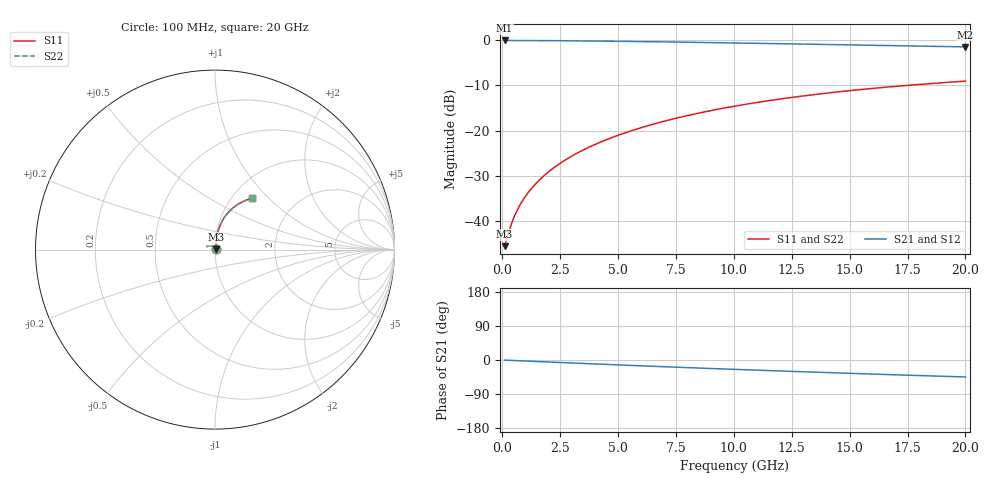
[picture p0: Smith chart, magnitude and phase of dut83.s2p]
! Touchstone file exported from HFSS 2024.1.0
!  File:  C:/UserFiles/LocalFiles/RDL_TSV_Batchsim/temp_RDL_top_83_1778682568.aedt
!  Generated:  10:32:00 PM May 13, 2026
!  Design:  RDL_top
!  Project:  temp_RDL_top_83_1778682568
!  Setup:  Setup1
!  Solution:  Sweep
! Variables:
!  dtsv = 10.80580581um
!  hbump = 3um
!  htsv = 86.4um
!  ldown = 100um
!  lrdl = 678.93um
!  p = 40
!  p1 = 41.13um
!  rhole = 1um
!  t = 450um
!  tdown = 3.915915916um
!  trdl = 2.38um
!  wdown = 15.38538539um
!  wrdl = 21.87um
# GHz S MA R 50.000000
! Terminal data exported
! Port[1] = Box2_T1
! Port[2] = Box2_T2
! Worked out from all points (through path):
!   200 points, 100 MHz to 20 GHz, reference 50 ohm
!   highest |S21| = -0.04 dB at 100 MHz (marker M1); lowest = -1.5 dB at 20 GHz (marker M2)
!   group delay of S21, straight-line fit = 6.19 ps
!   lowest |S11| = -45.5 dB at 100 MHz (marker M3), VSWR 1.01, Z = 50.5 + j0.203 ohm
!   |S11| at or under -10 dB: start of sweep to 17.43 GHz
!   |S22| runs from -45.5 to -9.0 dB; largest |S21 - S12| = 4.4e-15
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0.1  0.005285 22.3  0.9951 -0.3  0.9951 -0.3  0.005285 22.3
! Gamma 0 0 0 0
! Port Impedance 50 0 50 0
0.3  0.00786 48.0  0.9947 -0.8  0.9947 -0.8  0.00786 48.0
0.4  0.009407 54.3  0.9944 -1.1  0.9944 -1.1  0.009407 54.3
0.6  0.01254 61.8  0.9938 -1.7  0.9938 -1.7  0.01254 61.8
0.7  0.01411 64.4  0.9936 -1.9  0.9936 -1.9  0.01411 64.4
0.9  0.01724 68.3  0.9931 -2.4  0.9931 -2.4  0.01724 68.3
1.2  0.022 72.3  0.9923 -3.2  0.9923 -3.2  0.022 72.3
1.4  0.02522 74.2  0.9918 -3.8  0.9918 -3.8  0.02522 74.2
1.7  0.03014 76.3  0.991 -4.5  0.991 -4.5  0.03014 76.3
2.2  0.03852 78.6  0.9893 -5.8  0.9893 -5.8  0.03852 78.6
2.8  0.04886 80.2  0.9868 -7.4  0.9868 -7.4  0.04886 80.1
3.5  0.06127 81.0  0.9834 -9.2  0.9834 -9.2  0.06126 81.0
4.2  0.07401 81.3  0.9795 -11.0  0.9795 -11.0  0.074 81.2
5  0.08894 81.0  0.9743 -13.0  0.9743 -13.0  0.08892 81.0
5.9  0.1061 80.3  0.9679 -15.2  0.9679 -15.2  0.1061 80.3
6.8  0.1236 79.2  0.9611 -17.3  0.9611 -17.3  0.1235 79.2
8.4  0.1549 76.8  0.9479 -21.1  0.9479 -21.1  0.1549 76.7
10.1  0.188 73.6  0.9332 -24.9  0.9332 -24.9  0.1879 73.6
11.7  0.2184 70.5  0.9189 -28.4  0.9189 -28.4  0.2183 70.5
13.4  0.2494 67.0  0.9036 -31.9  0.9036 -31.9  0.2493 67.0
16.7  0.3049 60.4  0.874 -38.6  0.874 -38.6  0.3047 60.3
20  0.3533 54.0  0.8453 -44.8  0.8453 -44.8  0.3531 53.9
